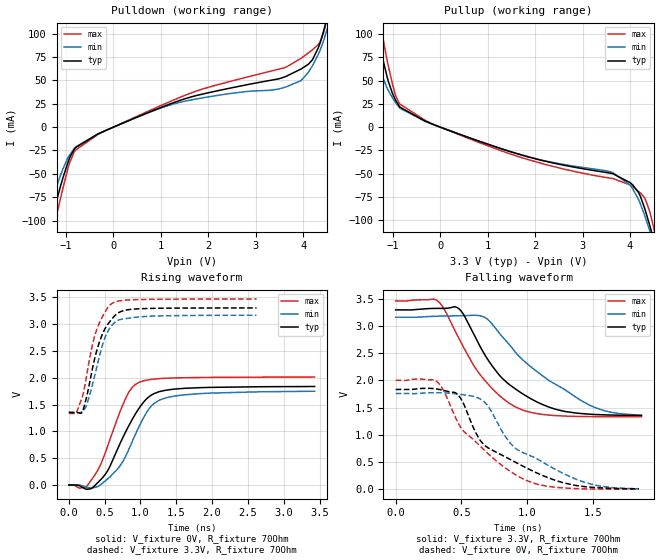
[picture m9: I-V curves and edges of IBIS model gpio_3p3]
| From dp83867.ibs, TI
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|   gpio_3p3 Model
[Model]   gpio_3p3
Model_type   Output
Polarity   Non-Inverting
Vmeas = 1.65
Vref = 0
Cref = 5pF
Rref = 70
|   typ   min   max
|   (nom PVT)   (fast PVT)   (slow PVT)
C_comp   1.751e-12   1.582e-12   1.816e-12
| Where nom  PVT is Nominal Process, 3.3V, 27C
|   Fast PVT is Strong Process,  3.465V, -40C
|   Slow PVT is Weak Process,   3.165V, 125C
[Voltage Range]   3.3   3.165   3.465
|Junction Temperature
[Temperature Range]   27   125   -40
[Pullup Reference]   3.3   3.165   3.465
[Pulldown Reference]   0   0   0
[Power Clamp Reference]   3.3   3.165   3.465
[GND Clamp Reference]   0   0   0
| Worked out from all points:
|   slope of the pulldown table from 0 to 0.495 V, typ, clamps not added: 46.5 ohm
|   slope of the pullup table from 0 to 0.495 V, typ, clamps not added: 53.5 ohm
|   falling waveform, V_fixture 3.3V, R_fixture 70Ohm: 20-80 % time 390ps typ, 541ps min, 346ps max; typ from 3.3 V to 1.35 V
|   rising waveform, V_fixture 0V, R_fixture 70Ohm: 20-80 % time 419ps typ, 399ps min, 341ps max; typ from 0 V to 1.83 V
|   rising waveform, V_fixture 3.3V, R_fixture 70Ohm: 20-80 % time 239ps typ, 224ps min, 222ps max; typ from 1.35 V to 3.3 V
|   falling waveform, V_fixture 0V, R_fixture 70Ohm: 20-80 % time 476ps typ, 486ps min, 423ps max; typ from 1.83 V to 0.002 V
[Pulldown]
|   Voltage   I(typ)   I(min)   I(max)
-3.3V     -497.4mA   -416.7mA   -567.8mA
-1.499V   -137.1mA   -112.6mA   -162mA
-1.245V   -87.41mA   -70.83mA   -104.5mA
-947.3mV  -36.11mA   -31.78mA   -41.95mA
-798.3mV  -21.93mA   -21.27mA   -24.58mA
1.256V    26.02mA    24.67mA    28.77mA
3.488V    51.76mA    40.86mA    62.08mA
3.954V    62.23mA    49.77mA    73.58mA
4.194V    72.05mA    65.65mA    82.81mA
4.434V    103.3mA    93.18mA    101.8mA
4.53V     123.2mA    109.1mA    120.9mA
6.6V      657mA      553.3mA    742.7mA
[Pullup]
|   Voltage   I(typ)   I(min)   I(max)
-3.3V     606.3mA    486.9mA    726.4mA
-1.553V   153.5mA    112.8mA    195.1mA
-1.373V   109.5mA    78.63mA    142.2mA
-1.287V   89.14mA    63.79mA    117.4mA
-1.097V   49.3mA     39.39mA    66.05mA
-851.4mV  21.57mA    20.28mA    24.78mA
1.384V    -24.86mA   -24.76mA   -27.21mA
3.638V    -50.11mA   -48.98mA   -55.31mA
4.181V    -70.51mA   -78.07mA   -69.31mA
4.413V    -105.2mA   -111.2mA   -90.44mA
4.6V      -141.2mA   -142.2mA   -129mA
6.6V      -536.8mA   -488.1mA   -577mA
[Ramp]
R_load = 70
|   typ   min   max
dV/dt_r   1.09873/4.17747e-10   1.05377/4.00817e-10   1.20041/3.38648e-10
dV/dt_f   1.16749/3.9059e-10   1.08994/5.45209e-10   1.27848/3.45208e-10
[Falling Waveform]
V_fixture = 3.3V
V_fixture_min = 3.165V
V_fixture_max = 3.465V
R_fixture = 70Ohm
|   Time   V(typ)   V(min)   V(max)
0s        3.3V       3.165V     3.465V
310ps     3.328V     3.183V     3.481V
360ps     3.327V     3.187V     3.35V
470ps     3.34V      3.191V     2.828V
690ps     2.426V     3.144V     1.968V
810ps     2.041V     2.81V      1.678V
930ps     1.811V     2.468V     1.491V
1.18ns    1.497V     1.979V     1.358V
1.47ns    1.379V     1.551V     1.334V
1.87ns    1.355V     1.358V     1.332V
[Rising Waveform]
V_fixture = 0V
V_fixture_min = 0V
V_fixture_max = 0V
R_fixture = 70Ohm
|   Time   V(typ)   V(min)   V(max)
0s        59.23uV    152.1uV    59.89uV
230ps     -73.83mV   -34.11mV   -42.37mV
460ps     120.4mV    24.06mV    431mV
560ps     310mV      135.8mV    793.8mV
790ps     982mV      527.1mV    1.604V
890ps     1.234V     824.9mV    1.826V
990ps     1.45V      1.115V     1.917V
1.19ns    1.702V     1.519V     1.974V
1.43ns    1.78V      1.646V     1.993V
3.43ns    1.835V     1.747V     2.012V
[Rising Waveform]
V_fixture = 3.3V
V_fixture_min = 3.165V
V_fixture_max = 3.465V
R_fixture = 70Ohm
|   Time   V(typ)   V(min)   V(max)
0s        1.354V     1.348V     1.334V
100ps     1.352V     1.348V     1.338V
190ps     1.366V     1.369V     1.648V
260ps     1.709V     1.536V     2.124V
380ps     2.456V     2.141V     2.857V
490ps     2.873V     2.689V     3.187V
600ps     3.091V     2.974V     3.381V
720ps     3.228V     3.084V     3.434V
910ps     3.278V     3.122V     3.453V
2.62ns    3.299V     3.163V     3.465V
[Falling Waveform]
V_fixture = 0V
V_fixture_min = 0V
V_fixture_max = 0V
R_fixture = 70Ohm
|   Time   V(typ)   V(min)   V(max)
0s        1.834V     1.758V     2.002V
310ps     1.843V     1.773V     1.985V
450ps     1.779V     1.756V     1.344V
510ps     1.604V     1.737V     1.084V
630ps     946.2mV    1.673V     820.4mV
710ps     748.2mV    1.501V     635.5mV
870ps     545.7mV    849.9mV    326.3mV
990ps     393.1mV    648.3mV    162.6mV
1.44ns    42.46mV    121.4mV    1.889mV
1.85ns    1.763mV    4.112mV    -3.196mV
